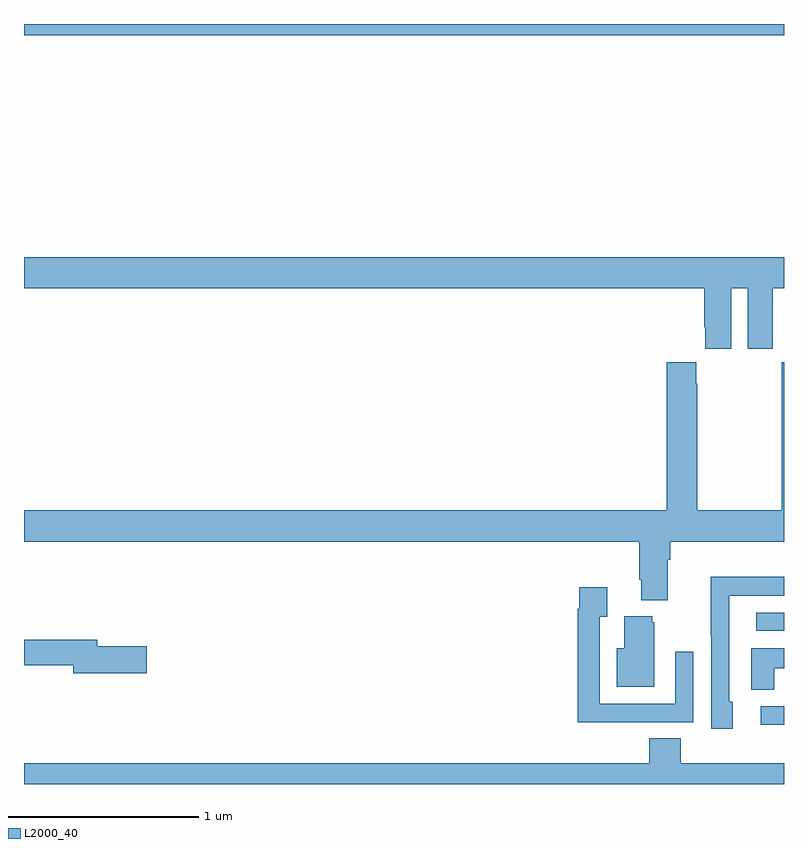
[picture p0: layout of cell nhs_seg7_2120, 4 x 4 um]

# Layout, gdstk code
import gdstk
lib = gdstk.Library(unit=1e-6, precision=1e-09)
def R(c, l, rs):  # rectangles x0, y0, x1, y1
    for r in rs: c.add(gdstk.rectangle(r[:2], r[2:], *l))
def P(c, l, *ps):  # polygons
    for p in ps: c.add(gdstk.Polygon(p, *l))
L2000_40 = (2000, 40)

nhs_seg7_2120 = lib.new_cell('nhs_seg7_2120')
R(nhs_seg7_2120, L2000_40, [(254.877,1006.313,255,1006.41), (254.853,1006.806,255,1006.902), (251,1009.94,255,1010)])
P(nhs_seg7_2120, L2000_40, [(254.722,1008.608),(254.81,1008.608),(254.81,1008.291),(254.941,1008.291),(254.941,1008.608),(255,1008.608),(255,1008.772),(251,1008.772),(251,1008.608),(254.579,1008.608),(254.579,1008.403),(254.585,1008.403),(254.585,1008.291),(254.722,1008.291)],
  [(254.389,1007.18),(254.402,1007.18),(254.402,1007.276),(255,1007.276),(255,1008.22),(254.989,1008.22),(254.989,1007.44),(254.544,1007.44),(254.544,1008.107),(254.539,1008.107),(254.539,1008.22),(254.384,1008.22),(254.384,1007.44),(251,1007.44),(251,1007.276),(254.237,1007.276),(254.237,1007.074),(254.249,1007.074),(254.249,1006.967),(254.389,1006.967)],
  [(254.731,1006.434),(254.712,1006.434),(254.712,1006.992),(255,1006.992),(255,1007.09),(254.614,1007.09),(254.614,1006.783),(254.616,1006.783),(254.616,1006.29),(254.731,1006.29)],
  [(254.207,1006.326),(254.523,1006.326),(254.523,1006.696),(254.427,1006.696),(254.427,1006.422),(254.031,1006.422),(254.031,1006.879),(254.071,1006.879),(254.071,1007.035),(253.923,1007.035),(253.923,1006.922),(253.915,1006.922),(253.915,1006.325),(254.207,1006.325)],
  [(254.317,1006.851),(254.306,1006.851),(254.306,1006.882),(254.159,1006.882),(254.159,1006.714),(254.12,1006.714),(254.12,1006.511),(254.317,1006.511)],
  [(251.647,1006.724),(251.386,1006.724),(251.386,1006.76),(251,1006.76),(251,1006.624),(251.258,1006.624),(251.258,1006.582),(251.647,1006.582)],
  [(254.949,1006.61),(255,1006.61),(255,1006.714),(254.828,1006.714),(254.828,1006.495),(254.949,1006.495)],
  [(255,1006.108),(254.456,1006.108),(254.456,1006.241),(254.291,1006.241),(254.291,1006.108),(251,1006.108),(251,1006),(255,1006)])

lib.write_gds('nhs_seg7_2120.gds')
